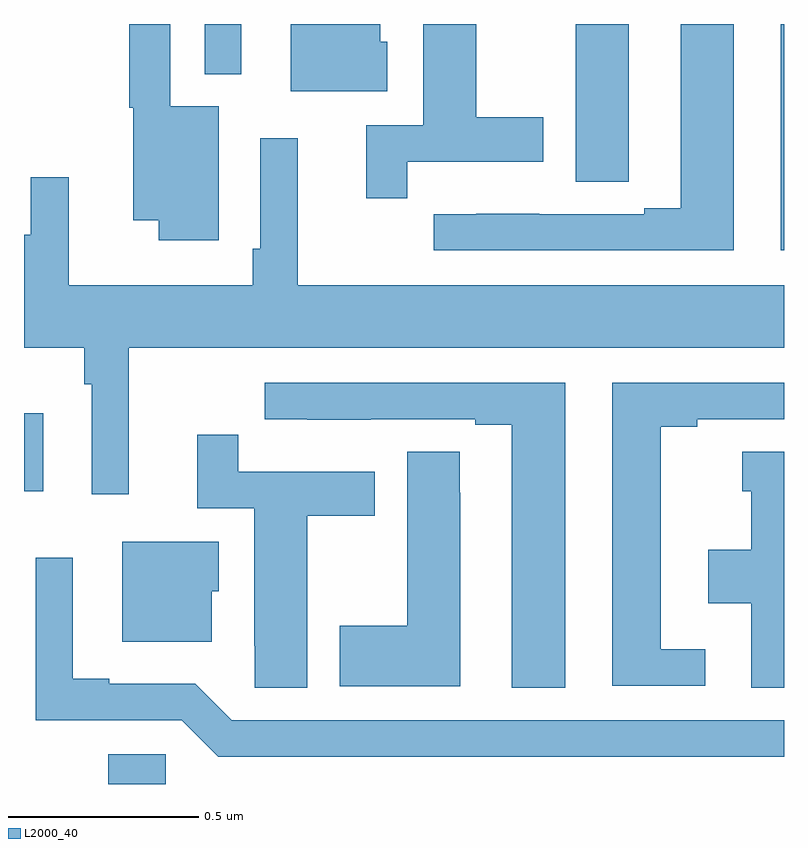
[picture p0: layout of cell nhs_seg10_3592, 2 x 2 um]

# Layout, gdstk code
import gdstk
lib = gdstk.Library(unit=1e-6, precision=1e-09)
def R(c, l, rs):  # rectangles x0, y0, x1, y1
    for r in rs: c.add(gdstk.rectangle(r[:2], r[2:], *l))
def P(c, l, *ps):  # polygons
    for p in ps: c.add(gdstk.Polygon(p, *l))
L2000_40 = (2000, 40)

nhs_seg10_3592 = lib.new_cell('nhs_seg10_3592')
R(nhs_seg10_3592, L2000_40, [(155.222,1300.5,155.373,1300.578), (155,1301.27,155.05,1301.476), (156.992,1301.904,157,1302.5), (155.475,1302.368,155.572,1302.5)])
P(nhs_seg10_3592, L2000_40, [(155.956,1302.453),(155.938,1302.453),(155.938,1302.5),(155.702,1302.5),(155.702,1302.323),(155.956,1302.323)],
  [(155.512,1302.283),(155.385,1302.283),(155.385,1302.5),(155.277,1302.5),(155.277,1302.279),(155.288,1302.279),(155.288,1301.984),(155.354,1301.984),(155.354,1301.931),(155.512,1301.931)],
  [(156.868,1302.5),(156.728,1302.5),(156.728,1302.015),(156.632,1302.015),(156.632,1302),(156.356,1302),(156.356,1302.001),(156.19,1302.001),(156.19,1302),(156.078,1302),(156.078,1301.904),(156.868,1301.904)],
  [(156.591,1302.193),(156.592,1302.193),(156.592,1302.5),(156.452,1302.5),(156.452,1302.085),(156.591,1302.085)],
  [(156.008,1302.138),(156.367,1302.138),(156.367,1302.255),(156.19,1302.255),(156.19,1302.5),(156.05,1302.5),(156.05,1302.234),(155.9,1302.234),(155.9,1302.042),(156.008,1302.042)],
  [(157,1301.812),(155.72,1301.812),(155.72,1302.199),(155.622,1302.199),(155.622,1301.908),(155.602,1301.908),(155.602,1301.812),(155.118,1301.812),(155.118,1302.097),(155.018,1302.097),(155.018,1301.946),(155,1301.946),(155,1301.648),(155.158,1301.648),(155.158,1301.552),(155.178,1301.552),(155.178,1301.262),(155.276,1301.262),(155.276,1301.648),(157,1301.648)],
  [(156.424,1301.556),(155.634,1301.556),(155.634,1301.46),(155.746,1301.46),(155.746,1301.459),(155.912,1301.459),(155.912,1301.46),(156.188,1301.46),(156.188,1301.445),(156.284,1301.445),(156.284,1300.753),(156.424,1300.753)],
  [(156.793,1300.854),(156.676,1300.854),(156.676,1301.44),(156.772,1301.44),(156.772,1301.46),(157,1301.46),(157,1301.556),(156.548,1301.556),(156.548,1300.758),(156.793,1300.758)],
  [(155.746,1301.206),(155.923,1301.206),(155.923,1301.322),(155.564,1301.322),(155.564,1301.419),(155.456,1301.419),(155.456,1301.226),(155.606,1301.226),(155.606,1300.864),(155.607,1300.864),(155.607,1300.753),(155.746,1300.753)],
  [(156.148,1301.267),(156.147,1301.267),(156.147,1301.375),(156.008,1301.375),(156.008,1300.917),(155.831,1300.917),(155.831,1300.757),(156.148,1300.757)],
  [(157,1301.374),(156.89,1301.374),(156.89,1301.271),(156.914,1301.271),(156.914,1301.116),(156.8,1301.116),(156.8,1300.976),(156.914,1300.976),(156.914,1300.753),(157,1300.753)],
  [(155.494,1301.007),(155.512,1301.007),(155.512,1301.137),(155.258,1301.137),(155.258,1300.874),(155.494,1300.874)],
  [(157,1300.668),(155.547,1300.668),(155.451,1300.764),(155.224,1300.764),(155.224,1300.777),(155.128,1300.777),(155.128,1301.095),(155.031,1301.095),(155.031,1300.668),(155.415,1300.668),(155.511,1300.572),(157,1300.572)])

lib.write_gds('nhs_seg10_3592.gds')
